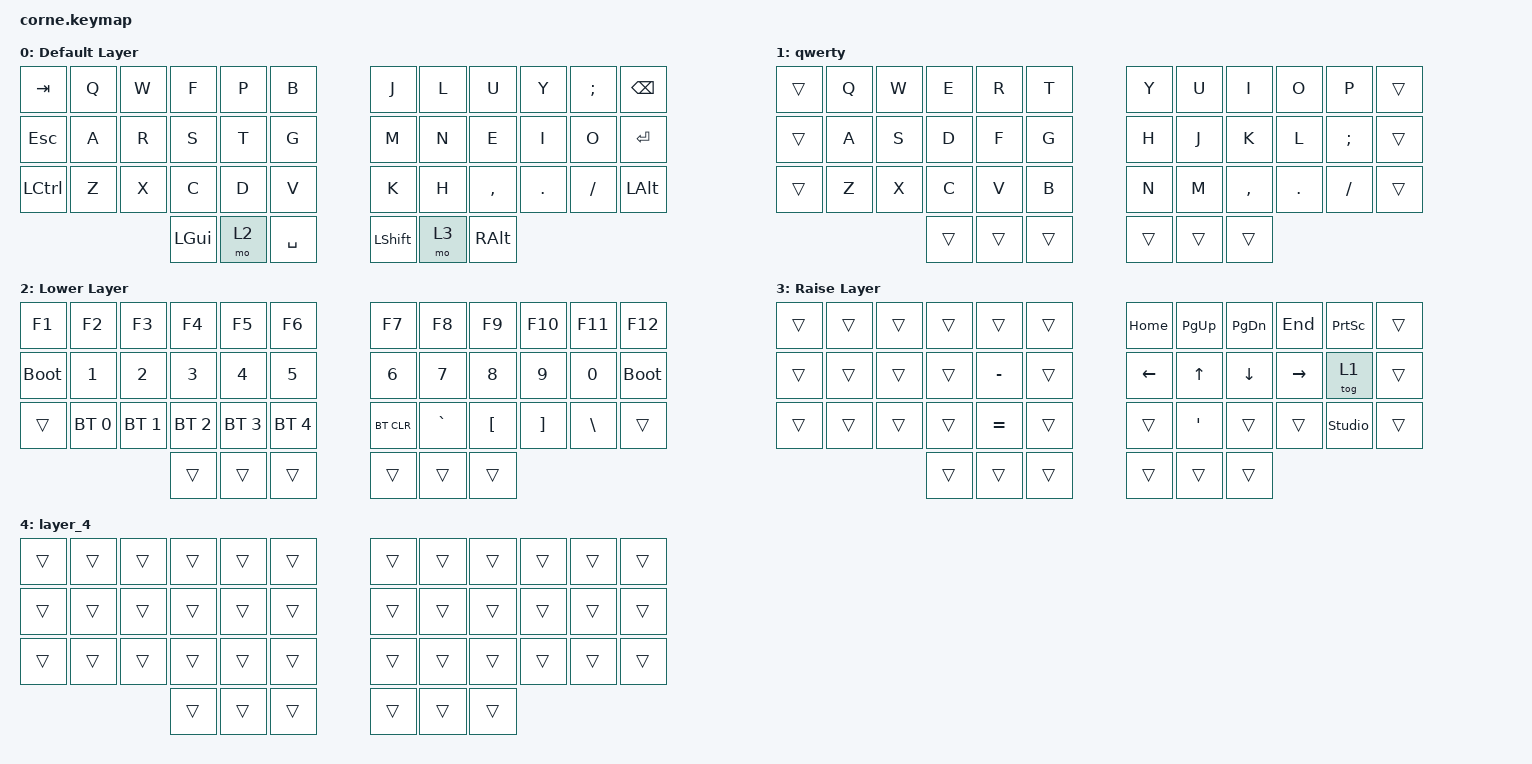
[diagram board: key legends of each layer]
/*
 * Copyright (c) 2020 The ZMK Contributors
 *
 * SPDX-License-Identifier: MIT
 */

#include <behaviors.dtsi>
#include <dt-bindings/zmk/bt.h>
#include <dt-bindings/zmk/keys.h>

/ {
    keymap {
        compatible = "zmk,keymap";

        colemak {
            display-name = "Default Layer";

            // -----------------------------------------------------------------------------------------
            // |  TAB |  Q  |  W  |  E  |  R  |  T  |   |  Y  |  U   |  I  |  O  |  P  | BSPC |
            // | CTRL |  A  |  S  |  D  |  F  |  G  |   |  H  |  J   |  K  |  L  |  ;  |  '   |
            // | SHFT |  Z  |  X  |  C  |  V  |  B  |   |  N  |  M   |  ,  |  .  |  /  | ESC  |
            //                    | GUI | LWR | SPC |   | ENT | RSE  | ALT |

            bindings = <
&kp TAB           &kp Q  &kp W  &kp F     &kp P  &kp B        &kp J           &kp L  &kp U      &kp Y    &kp SEMICOLON  &kp BSPC
&kp ESCAPE        &kp A  &kp R  &kp S     &kp T  &kp G        &kp M           &kp N  &kp E      &kp I    &kp O          &kp ENTER
&kp LEFT_CONTROL  &kp Z  &kp X  &kp C     &kp D  &kp V        &kp K           &kp H  &kp COMMA  &kp DOT  &kp FSLH       &kp LEFT_ALT
                                &kp LGUI  &mo 2  &kp SPACE    &kp LEFT_SHIFT  &mo 3  &kp RALT
            >;
        };

        qwerty {
            bindings = <
&trans  &kp Q  &kp W  &kp E   &kp R   &kp T     &kp Y   &kp U   &kp I      &kp O    &kp P     &trans
&trans  &kp A  &kp S  &kp D   &kp F   &kp G     &kp H   &kp J   &kp K      &kp L    &kp SEMI  &trans
&trans  &kp Z  &kp X  &kp C   &kp V   &kp B     &kp N   &kp M   &kp COMMA  &kp DOT  &kp FSLH  &trans
                      &trans  &trans  &trans    &trans  &trans  &trans
            >;
        };

        bottom {
            display-name = "Lower Layer";

            // -----------------------------------------------------------------------------------------
            // |  TAB |  1  |  2  |  3  |  4  |  5  |   |  6  |  7  |  8  |  9  |  0  | BSPC |
            // | BTCLR| BT1 | BT2 | BT3 | BT4 | BT5 |   | LFT | DWN |  UP | RGT |     |      |
            // | SHFT |     |     |     |     |     |   |     |     |     |     |     |      |
            //                    | GUI |     | SPC |   | ENT |     | ALT |

            bindings = <
&kp F1       &kp F2        &kp F3        &kp F4        &kp F5        &kp F6          &kp F7        &kp F8        &kp F9            &kp F10            &kp F11        &kp F12
&bootloader  &kp NUMBER_1  &kp N2        &kp NUMBER_3  &kp NUMBER_4  &kp NUMBER_5    &kp NUMBER_6  &kp NUMBER_7  &kp NUMBER_8      &kp NUMBER_9       &kp NUMBER_0   &bootloader
&trans       &bt BT_SEL 0  &bt BT_SEL 1  &bt BT_SEL 2  &bt BT_SEL 3  &bt BT_SEL 4    &bt BT_CLR    &kp GRAVE     &kp LEFT_BRACKET  &kp RIGHT_BRACKET  &kp BACKSLASH  &trans
                                         &trans        &trans        &trans          &trans        &trans        &trans
            >;
        };

        top {
            display-name = "Raise Layer";

            // -----------------------------------------------------------------------------------------
            // |  TAB |  !  |  @  |  #  |  $  |  %  |   |  ^  |  &  |  *  |  (  |  )  | BSPC |
            // | CTRL |     |     |     |     |     |   |  -  |  =  |  [  |  ]  |  \  |  `   |
            // | SHFT |     |     |     |     |     |   |  _  |  +  |  {  |  }  | "|" |  ~   |
            //                    | GUI |     | SPC |   | ENT |     | ALT |

            bindings = <
&trans  &trans  &trans  &trans  &trans     &trans    &kp HOME  &kp PAGE_UP       &kp PAGE_DOWN   &kp END    &kp PRINTSCREEN  &trans
&trans  &trans  &trans  &trans  &kp MINUS  &trans    &kp LEFT  &kp UP_ARROW      &kp DOWN_ARROW  &kp RIGHT  &tog 1           &trans
&trans  &trans  &trans  &trans  &kp EQUAL  &trans    &trans    &kp SINGLE_QUOTE  &trans          &trans     &studio_unlock   &trans
                        &trans  &trans     &trans    &trans    &trans            &trans
            >;
        };

        layer_4 {
            bindings = <
&trans  &trans  &trans  &trans  &trans  &trans    &trans  &trans  &trans  &trans  &trans  &trans
&trans  &trans  &trans  &trans  &trans  &trans    &trans  &trans  &trans  &trans  &trans  &trans
&trans  &trans  &trans  &trans  &trans  &trans    &trans  &trans  &trans  &trans  &trans  &trans
                        &trans  &trans  &trans    &trans  &trans  &trans
            >;
        };
    };
};
